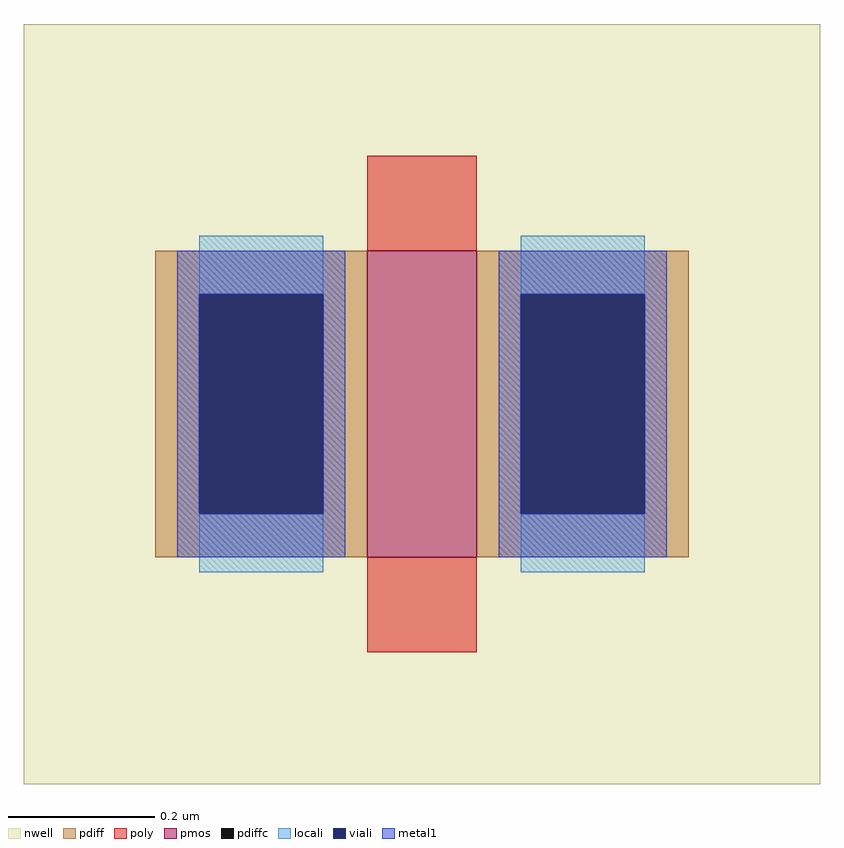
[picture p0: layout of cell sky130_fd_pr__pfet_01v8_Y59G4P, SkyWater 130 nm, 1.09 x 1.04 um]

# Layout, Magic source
magic
tech sky130A
magscale 1 2
<< nwell >>
rect -109 -104 109 104
<< pmos >>
rect -15 -42 15 42
<< pdiff >>
rect -73 30 -15 42
rect -73 -30 -61 30
rect -27 -30 -15 30
rect -73 -42 -15 -30
rect 15 30 73 42
rect 15 -30 27 30
rect 61 -30 73 30
rect 15 -42 73 -30
<< pdiffc >>
rect -61 -30 -27 30
rect 27 -30 61 30
<< poly >>
rect -15 42 15 68
rect -15 -68 15 -42
<< locali >>
rect -61 30 -27 46
rect -61 -46 -27 -30
rect 27 30 61 46
rect 27 -46 61 -30
<< viali >>
rect -61 -30 -27 30
rect 27 -30 61 30
<< metal1 >>
rect -67 30 -21 42
rect -67 -30 -61 30
rect -27 -30 -21 30
rect -67 -42 -21 -30
rect 21 30 67 42
rect 21 -30 27 30
rect 61 -30 67 30
rect 21 -42 67 -30
<< properties >>
string gencell sky130_fd_pr__pfet_01v8
string parameters w 0.42 l 0.15 m 1 nf 1 diffcov 100 polycov 100 guard 0 glc 0 grc 0 gtc 0 gbc 0 tbcov 100 rlcov 100 topc 0 botc 0 poverlap 0 doverlap 0 lmin 0.15 wmin 0.42 compatible {sky130_fd_pr__pfet_01v8  sky130_fd_pr__pfet_01v8_lvt sky130_fd_pr__pfet_01v8_hvt  sky130_fd_pr__pfet_g5v0d10v5} full_metal 0 viagl 0 viagr 0 viagt 0 viagb 0 viagate 100 viadrn 100 viasrc 100
string library sky130
<< end >>
